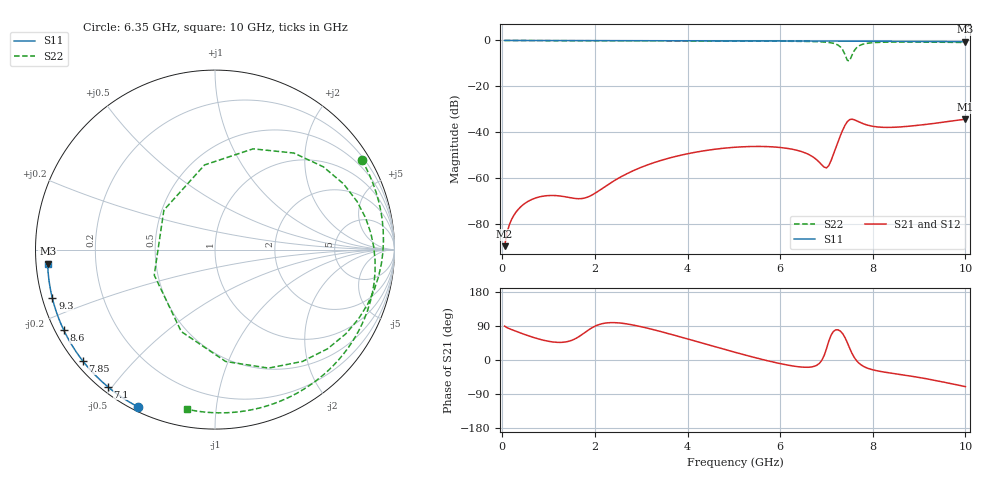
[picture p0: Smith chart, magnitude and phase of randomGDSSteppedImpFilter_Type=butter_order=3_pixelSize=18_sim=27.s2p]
! freq	dB(S11)	phase(S11)	dB(S12)	phase(S12)
!  dB(S21)	phase(S21)	dB(S22)	phase(S22)
!S-par simulation data
#  GHz  S  DB  R 50
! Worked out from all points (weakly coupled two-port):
!   200 points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, 50 MHz to 10 GHz, reference 50 ohm
!   highest |S21| = -34.36 dB at 10 GHz (marker M1); lowest = -89.8 dB at 50 MHz (marker M2)
!   lowest |S11| = -0.6 dB at 10 GHz (marker M3), VSWR 30.13, Z = 1.66 - j2.11 ohm
!   |S11| at or under -10 dB: nowhere
!   |S22| runs from -8.9 to 0.0 dB; largest |S21 - S12| = 0
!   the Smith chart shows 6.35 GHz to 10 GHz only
!   S11 on the Smith chart (normalised r, x): 6.35 GHz: 0.02, -0.62; 7.1 GHz: 0.02, -0.49; 7.85 GHz: 0.02, -0.36; 8.6 GHz: 0.02, -0.25; 9.3 GHz: 0.03, -0.15; 10 GHz: 0.03, -0.04
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0.05  -0.00 -1.0  -89.81 89.5  -89.81 89.5  -0.00 -3.9
0.9  -0.02 -18.1  -67.90 51.9  -67.90 51.9  -0.08 -66.6
1.75  -0.04 -34.8  -68.91 69.6  -68.91 69.6  -0.12 -118.3
2.55  -0.07 -50.2  -59.67 97.5  -59.67 97.5  -0.14 -157.7
3.4  -0.09 -65.9  -52.54 75.8  -52.54 75.8  -0.17 165.5
5.05  -0.15 -94.7  -46.59 19.5  -46.59 19.5  -0.25 95.4
5.7  -0.18 -105.5  -46.33 -1.2  -46.33 -1.2  -0.29 65.1
6.35  -0.22 -116.1  -47.88 -17.1  -47.88 -17.1  -0.37 31.4
6.7  -0.24 -121.7  -50.74 -17.8  -50.74 -17.8  -0.48 10.1
7  -0.26 -126.5  -55.63 29.7  -55.63 29.7  -0.77 -14.2
7.1  -0.27 -128.1  -52.43 65.7  -52.43 65.7  -1.03 -25.7
7.3  -0.28 -131.2  -41.58 76.3  -41.58 76.3  -2.80 -65.7
7.4  -0.29 -132.8  -37.04 59.2  -37.04 59.2  -6.13 -112.4
7.45  -0.29 -133.6  -35.45 45.9  -35.45 45.9  -8.70 -157.2
7.55  -0.30 -135.2  -34.38 17.9  -34.38 17.9  -6.46 97.0
7.6  -0.31 -136.0  -34.61 6.8  -34.61 6.8  -4.44 69.3
7.7  -0.32 -137.6  -35.53 -8.2  -35.53 -8.2  -2.39 37.4
7.85  -0.33 -140.0  -36.74 -19.8  -36.74 -19.8  -1.34 11.9
8.35  -0.38 -148.0  -37.96 -33.9  -37.96 -33.9  -0.73 -28.3
8.6  -0.40 -152.0  -37.75 -38.4  -37.75 -38.4  -0.70 -41.8
9.3  -0.48 -163.4  -36.28 -52.9  -36.28 -52.9  -0.75 -73.1
10  -0.58 -175.2  -34.36 -70.3  -34.36 -70.3  -0.89 -100.0
